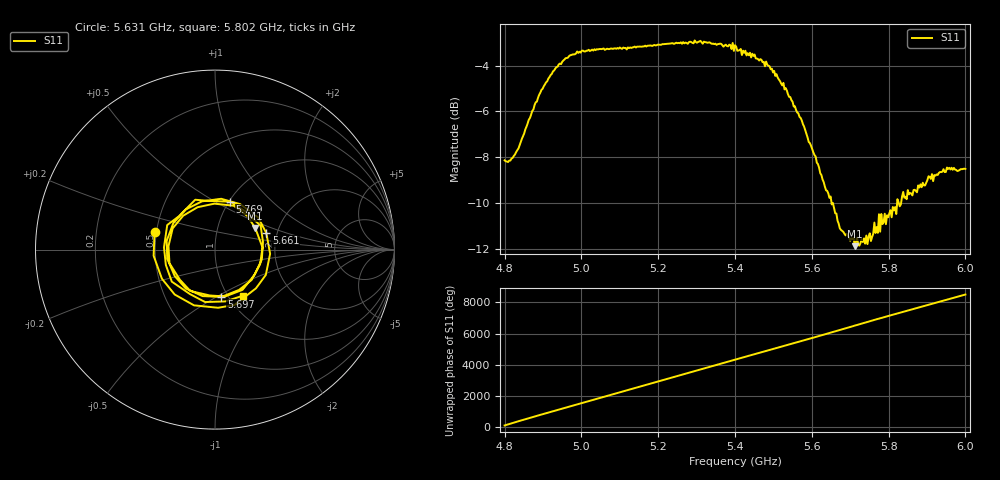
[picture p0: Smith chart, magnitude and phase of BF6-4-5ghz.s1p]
! NanoVNA-App
! Date: 2026-06-16 00:34:57
! Start: 4.8GHz Stop: 6GHz Points: 401
! S-Parameter data: F S11
# Hz S RI R 50
!  Frequency  S11_Real  S11_Imag
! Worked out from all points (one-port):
!   401 points, 4.8 GHz to 6 GHz, reference 50 ohm
!   lowest |S11| = -11.9 dB at 5.712 GHz (marker M1), VSWR 1.68, Z = 75.8 + j19.6 ohm
!   |S11| at or under -10 dB: 5.651486 GHz to 5.654897 GHz (3.411 MHz wide, 0.0603 % of centre); 5.655 GHz to 5.822 GHz (167.2 MHz wide, 2.91 % of centre); 5.826503 GHz to 5.832512 GHz (6.008 MHz wide, 0.103 % of centre)
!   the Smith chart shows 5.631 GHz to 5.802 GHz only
!   S11 on the Smith chart (normalised r, x): 5.631 GHz: 0.49, +0.11; 5.661 GHz: 1.75, +0.36; 5.697 GHz: 0.93, -0.53; 5.769 GHz: 1.01, +0.59; 5.802 GHz: 1.17, -0.66
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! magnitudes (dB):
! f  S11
! 4.8 GHz  -8.1
! 4.815 GHz  -8.1
! 4.83 GHz  -7.8
! 4.896 GHz  -5.1
! 4.95 GHz  -3.8
! 4.995 GHz  -3.4
! 5.1 GHz  -3.2
! 5.25 GHz  -3.0
! 5.325 GHz  -3.0
! 5.4 GHz  -3.1
! 5.487 GHz  -4.0
! 5.529 GHz  -5.0
! 5.55 GHz  -5.6
! 5.577 GHz  -6.6
! 5.631 GHz  -9.1
! 5.661 GHz  -10.4
! 5.676 GHz  -11.2
! 5.697 GHz  -11.5
! 5.7 GHz  -11.6
! 5.712 GHz  -11.9
! 5.727 GHz  -11.7
! 5.751 GHz  -11.3
! 5.769 GHz  -11.0
! 5.772 GHz  -11.3
! 5.802 GHz  -10.4
! 5.85 GHz  -9.4
! 5.937 GHz  -8.6
! 6 GHz  -8.5
